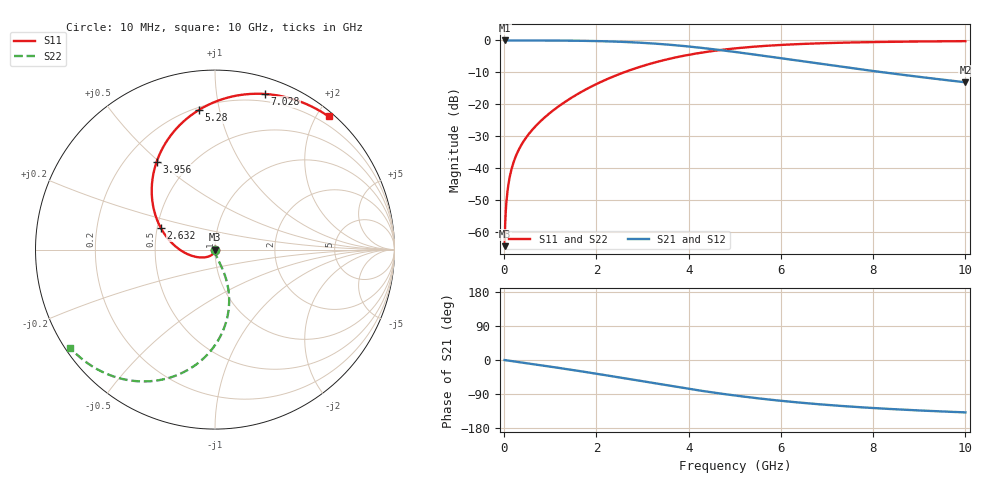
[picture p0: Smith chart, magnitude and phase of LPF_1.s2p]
! Created Sun Oct 22 11:41:54 2023
# ghz S ri R 50
! 2 Port Network Data from SP1.SP block
! freq  reS11  imS11  reS21  imS21  reS12  imS12  reS22  imS22
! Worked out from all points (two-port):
!   801 points, 10 MHz to 10 GHz, reference 50 ohm
!   highest |S21| = 0.00 dB at 10 MHz (marker M1); lowest = -13.1 dB at 10 GHz (marker M2)
!   |S21| within 3 dB of the highest: start of sweep to 4.678 GHz
!   lowest |S11| = -64.5 dB at 10 MHz (marker M3), VSWR 1.00, Z = 50 - j0.0594 ohm
!   |S11| at or under -10 dB: start of sweep to 2.597 GHz
!   |S22| runs from -64.5 to -0.2 dB; largest |S21 - S12| = 0
!   S11 on the Smith chart (normalised r, x): 10 MHz: 1.00, -0.00; 2.632 GHz: 0.53, +0.14; 3.956 GHz: 0.33, +0.49; 5.28 GHz: 0.22, +0.87; 7.028 GHz: 0.13, +1.36; 10 GHz: 0.07, +2.17
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0.01  -6.17e-06 -0.000594  1 -0.00302  1 -0.00302  2.58e-06 -0.000594
0.034975  -7.55e-05 -0.00208  0.9999 -0.0106  0.9999 -0.0106  3.16e-05 -0.00208
0.0724375  -0.000324 -0.0043  0.9998 -0.0219  0.9998 -0.0219  0.000136 -0.00431
0.0974125  -0.000586 -0.00578  0.9996 -0.0294  0.9996 -0.0294  0.000245 -0.0058
0.1223875  -0.000924 -0.00725  0.9993 -0.0369  0.9993 -0.0369  0.000387 -0.00729
0.1723375  -0.00183 -0.0102  0.9986 -0.052  0.9986 -0.052  0.000766 -0.0103
0.2222875  -0.00304 -0.013  0.9977 -0.0671  0.9977 -0.0671  0.00127 -0.0133
0.35965  -0.00795 -0.0206  0.9938 -0.1085  0.9938 -0.1085  0.00331 -0.0219
0.5719375  -0.02 -0.031  0.9843 -0.1724  0.9843 -0.1724  0.00824 -0.0359
0.85915  -0.0444 -0.0409  0.9642 -0.2584  0.9642 -0.2584  0.018 -0.0576
1.233775  -0.0887 -0.0432  0.9243 -0.3688  0.9243 -0.3688  0.0346 -0.0924
1.683325  -0.1556 -0.024  0.8542 -0.4955  0.8542 -0.4955  0.0564 -0.147
2.632375  -0.3006 0.1183  0.6239 -0.7116  0.6239 -0.7116  0.078 -0.3135
3.344162  -0.3522 0.3071  0.3989 -0.789  0.3989 -0.789  0.0385 -0.4657
3.95605  -0.3256 0.4881  0.2064 -0.7831  0.2064 -0.7831  -0.0427 -0.5852
5.005  -0.1497 0.7357  -0.0423 -0.6592  -0.0423 -0.6592  -0.2425 -0.7105
5.279725  -0.0892 0.7783  -0.0852 -0.6157  -0.0852 -0.6157  -0.2973 -0.7248
5.941562  0.0599 0.8437  -0.1553 -0.5103  -0.1553 -0.5103  -0.4203 -0.734
6.678325  0.2134 0.8679  -0.1917 -0.4055  -0.1917 -0.4055  -0.5353 -0.7158
7.027975  0.2783 0.867  -0.1987 -0.3625  -0.1987 -0.3625  -0.5812 -0.701
8.339163  0.4735 0.8251  -0.1944 -0.2393  -0.1944 -0.2393  -0.7107 -0.6323
10  0.6334 0.7417  -0.1646 -0.147  -0.1646 -0.147  -0.8082 -0.546
